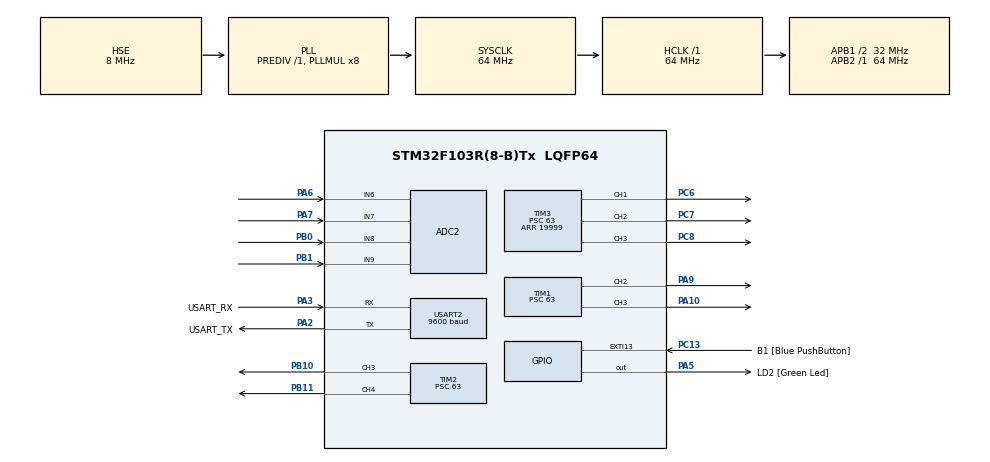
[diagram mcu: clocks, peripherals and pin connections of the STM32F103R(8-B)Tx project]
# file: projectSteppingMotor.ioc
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ADC2.Channel-1\#ChannelRegularConversion=ADC_CHANNEL_6
ADC2.Channel-2\#ChannelRegularConversion=ADC_CHANNEL_7
ADC2.Channel-3\#ChannelRegularConversion=ADC_CHANNEL_8
ADC2.Channel-4\#ChannelRegularConversion=ADC_CHANNEL_9
ADC2.DiscontinuousConvMode=ENABLE
ADC2.NbrOfConversion=4
ADC2.NbrOfConversionFlag=1
ADC2.Rank-1\#ChannelRegularConversion=1
ADC2.Rank-2\#ChannelRegularConversion=2
ADC2.Rank-3\#ChannelRegularConversion=3
ADC2.Rank-4\#ChannelRegularConversion=4
ADC2.SamplingTime-1\#ChannelRegularConversion=ADC_SAMPLETIME_1CYCLE_5
ADC2.SamplingTime-2\#ChannelRegularConversion=ADC_SAMPLETIME_1CYCLE_5
ADC2.SamplingTime-3\#ChannelRegularConversion=ADC_SAMPLETIME_1CYCLE_5
ADC2.SamplingTime-4\#ChannelRegularConversion=ADC_SAMPLETIME_1CYCLE_5
Mcu.Family=STM32F1
Mcu.Name=STM32F103R(8-B)Tx
Mcu.Package=LQFP64
NVIC.EXTI15_10_IRQn=true\:0\:0\:false\:false\:true\:true\:true\:true
NVIC.PriorityGroup=NVIC_PRIORITYGROUP_4
PA10.Signal=S_TIM1_CH3
PA13.GPIO_Label=TMS
PA13.Mode=Serial_Wire
PA13.Signal=SYS_JTMS-SWDIO
PA14.GPIO_Label=TCK
PA14.Mode=Serial_Wire
PA14.Signal=SYS_JTCK-SWCLK
PA2.GPIO_Label=USART_TX
PA2.GPIO_Mode=GPIO_MODE_AF_PP
PA2.GPIO_PuPd=GPIO_NOPULL
PA2.GPIO_Speed=GPIO_SPEED_FREQ_LOW
PA2.Mode=Asynchronous
PA2.Signal=USART2_TX
PA3.GPIO_Label=USART_RX
PA3.GPIO_Mode=GPIO_MODE_AF_PP
PA3.GPIO_PuPd=GPIO_NOPULL
PA3.GPIO_Speed=GPIO_SPEED_FREQ_LOW
PA3.Mode=Asynchronous
PA3.Signal=USART2_RX
PA5.GPIO_Label=LD2 [Green Led]
PA5.GPIO_ModeDefaultOutputPP=GPIO_MODE_OUTPUT_PP
PA5.GPIO_PuPd=GPIO_NOPULL
PA5.GPIO_Speed=GPIO_SPEED_FREQ_LOW
PA5.Signal=GPIO_Output
PA6.Signal=ADCx_IN6
PA7.Signal=ADCx_IN7
PA9.Signal=S_TIM1_CH2
PB0.Signal=ADCx_IN8
PB1.Signal=ADCx_IN9
PB10.Signal=S_TIM2_CH3
PB11.Signal=S_TIM2_CH4
PB3.GPIO_Label=SWO
PB3.Signal=SYS_JTDO-TRACESWO
PC13-TAMPER-RTC.GPIO_Label=B1 [Blue PushButton]
PC13-TAMPER-RTC.GPIO_PuPd=GPIO_NOPULL
PC13-TAMPER-RTC.Signal=GPXTI13
PC14-OSC32_IN.Mode=LSE-External-Oscillator
PC14-OSC32_IN.Signal=RCC_OSC32_IN
PC15-OSC32_OUT.Mode=LSE-External-Oscillator
PC15-OSC32_OUT.Signal=RCC_OSC32_OUT
PC6.Signal=S_TIM3_CH1
PC7.Signal=S_TIM3_CH2
PC8.Signal=S_TIM3_CH3
PD0-OSC_IN.Mode=HSE-External-Clock-Source
PD0-OSC_IN.Signal=RCC_OSC_IN
PD1-OSC_OUT.Mode=HSE-External-Clock-Source
PD1-OSC_OUT.Signal=RCC_OSC_OUT
ProjectManager.HeapSize=0x200
ProjectManager.StackSize=0x400
ProjectManager.TargetToolchain=STM32CubeIDE
RCC.ADCPresc=RCC_ADCPCLK2_DIV8
RCC.AHBFreq_Value=64000000
RCC.APB1CLKDivider=RCC_HCLK_DIV2
RCC.APB1Freq_Value=32000000
RCC.APB1TimFreq_Value=64000000
RCC.APB2Freq_Value=64000000
RCC.APB2TimFreq_Value=64000000
RCC.HCLKFreq_Value=64000000
RCC.PLLMUL=RCC_PLL_MUL8
RCC.PLLSourceVirtual=RCC_PLLSOURCE_HSE
RCC.RTCClockSelection=RCC_RTCCLKSOURCE_LSE
RCC.SYSCLKFreq_VALUE=64000000
RCC.SYSCLKSource=RCC_SYSCLKSOURCE_PLLCLK
RCC.USBFreq_Value=64000000
SH.ADCx_IN6.0=ADC2_IN6,IN6
SH.ADCx_IN7.0=ADC2_IN7,IN7
SH.ADCx_IN8.0=ADC2_IN8,IN8
SH.ADCx_IN9.0=ADC2_IN9,IN9
SH.S_TIM1_CH2.0=TIM1_CH2,PWM Generation2 CH2
SH.S_TIM1_CH3.0=TIM1_CH3,PWM Generation3 CH3
SH.S_TIM2_CH3.0=TIM2_CH3,PWM Generation3 CH3
SH.S_TIM2_CH4.0=TIM2_CH4,PWM Generation4 CH4
SH.S_TIM3_CH1.0=TIM3_CH1,PWM Generation1 CH1
SH.S_TIM3_CH2.0=TIM3_CH2,PWM Generation2 CH2
SH.S_TIM3_CH3.0=TIM3_CH3,PWM Generation3 CH3
TIM1.Channel-Output\ Compare1\ No\ Output=TIM_CHANNEL_1
TIM1.Channel-PWM\ Generation2\ CH2=TIM_CHANNEL_2
TIM1.Channel-PWM\ Generation3\ CH3=TIM_CHANNEL_3
TIM1.OCPolarity_3=TIM_OCPOLARITY_LOW
TIM1.Period=9999
TIM1.Prescaler=63
TIM1.Pulse-Output\ Compare1\ No\ Output=2500
TIM1.TIM_MasterOutputTrigger=TIM_TRGO_OC1
TIM1.TIM_MasterSlaveMode=TIM_MASTERSLAVEMODE_ENABLE
TIM2.Channel-PWM\ Generation3\ CH3=TIM_CHANNEL_3
TIM2.Channel-PWM\ Generation4\ CH4=TIM_CHANNEL_4
TIM2.OCPolarity_4=TIM_OCPOLARITY_LOW
TIM2.Period=9999
TIM2.Prescaler=63
TIM2.Pulse-PWM\ Generation3\ CH3=5000
TIM2.Pulse-PWM\ Generation4\ CH4=5000
TIM3.Channel-PWM\ Generation1\ CH1=TIM_CHANNEL_1
TIM3.Channel-PWM\ Generation2\ CH2=TIM_CHANNEL_2
TIM3.Channel-PWM\ Generation3\ CH3=TIM_CHANNEL_3
TIM3.Period=19999
TIM3.Prescaler=63
USART2.BaudRate=9600
USART2.VirtualMode=VM_ASYNC
VP_TIM1_VS_ClockSourceINT.Mode=Internal
VP_TIM1_VS_no_output1.Mode=Output Compare1 No Output
VP_TIM2_VS_ClockSourceINT.Mode=Internal
VP_TIM2_VS_ClockSourceITR.Mode=TriggerSource_ITR0
VP_TIM2_VS_ControllerModeReset.Mode=Reset Mode
VP_TIM3_VS_ClockSourceINT.Mode=Internal
board=NUCLEO-F103RB

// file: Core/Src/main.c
/* USER CODE BEGIN Header */
/**
  ******************************************************************************
  * @file           : main.c
  * @brief          : Main program body
  ******************************************************************************
  * @attention
  *
  * Copyright (c) 2022 STMicroelectronics.
  * All rights reserved.
  *
  * This software is licensed under terms that can be found in the LICENSE file
  * in the root directory of this software component.
  * If no LICENSE file comes with this software, it is provided AS-IS.
  *
  ******************************************************************************
  */
/* USER CODE END Header */
#include "main.h"

/* USER CODE BEGIN Includes */
#include "stdio.h"
/* USER CODE END Includes */

 ADC_HandleTypeDef hadc2;

TIM_HandleTypeDef htim1;
TIM_HandleTypeDef htim2;
TIM_HandleTypeDef htim3;

UART_HandleTypeDef huart2;

/* USER CODE BEGIN PV */
int joystick1_X;
int joystick1_Y;
int joystick2_X;
int joystick2_Y;
int delay_time = 0;
int survo1Idx=0;
int survo2Idx=0;
int survo3Idx=0;
ADC_ChannelConfTypeDef Adc_sConfig;
/* USER CODE END PV */

void SystemClock_Config(void);
static void MX_GPIO_Init(void);
static void MX_USART2_UART_Init(void);
static void MX_ADC2_Init(void);
static void MX_TIM1_Init(void);
static void MX_TIM2_Init(void);
static void MX_TIM3_Init(void);

/* USER CODE BEGIN 0 */
#ifdef __GNUC__
/* With GCC, small printf (option LD Linker->Libraries->Small printf
   set to 'Yes') calls __io_putchar() */
#define PUTCHAR_PROTOTYPE int __io_putchar(int ch)
#else
#define PUTCHAR_PROTOTYPE int fputc(int ch, FILE *f)
#endif /* __GNUC__ */

PUTCHAR_PROTOTYPE
{
  /* Place your implementation of fputc here */
  /* e.g. write a character to the USART1 and Loop until the end of transmission */
  HAL_UART_Transmit(&huart2, (uint8_t *)&ch, 1, 0xFFFF);

  return ch;
}
/* USER CODE END 0 */

int main(void)
{

  /* MCU Configuration--------------------------------------------------------*/

  /* Reset of all peripherals, Initializes the Flash interface and the Systick. */
  HAL_Init();

  /* Configure the system clock */
  SystemClock_Config();

  /* Initialize all configured peripherals */
  MX_GPIO_Init();
  MX_USART2_UART_Init();
  MX_ADC2_Init();
  MX_TIM1_Init();
  MX_TIM2_Init();
  MX_TIM3_Init();
  /* USER CODE BEGIN 2 */
	HAL_TIM_PWM_Start(&htim1, TIM_CHANNEL_2);
	HAL_TIM_PWM_Start(&htim1, TIM_CHANNEL_3);
	HAL_TIM_PWM_Start(&htim2, TIM_CHANNEL_3);
	HAL_TIM_PWM_Start(&htim2, TIM_CHANNEL_4);
	HAL_TIM_PWM_Start(&htim3, TIM_CHANNEL_1);
	HAL_TIM_PWM_Start(&htim3, TIM_CHANNEL_2);
	HAL_TIM_PWM_Start(&htim3, TIM_CHANNEL_3);
  /* USER CODE END 2 */

  /* Infinite loop */
  while (1)
  {

    /* USER CODE BEGIN 3 */
	  HAL_ADC_Start(&hadc2);
	  HAL_ADC_PollForConversion(&hadc2, HAL_MAX_DELAY);
	  joystick1_X = HAL_ADC_GetValue(&hadc2);

	  HAL_ADC_Start(&hadc2);
	  HAL_ADC_PollForConversion(&hadc2, HAL_MAX_DELAY);
	  joystick1_Y = HAL_ADC_GetValue(&hadc2);

	  HAL_ADC_Start(&hadc2);
	  HAL_ADC_PollForConversion(&hadc2, HAL_MAX_DELAY);
	  joystick2_X = HAL_ADC_GetValue(&hadc2);

	  HAL_ADC_Start(&hadc2);
	  HAL_ADC_PollForConversion(&hadc2, HAL_MAX_DELAY);
	  joystick2_Y = HAL_ADC_GetValue(&hadc2);

	  if(joystick1_X<1800)	joystick1_X = 0; // ( -x )
	  else if(joystick1_X >=1800&&joystick1_X<2900)	joystick1_X = 1;// 0
	  else if(joystick1_X>=2900)	joystick1_X = 2; //( +x )

	  if(joystick1_X == 0)
	  {
		  TIM1->CCER = 784; // counterclockwise
		  TIM1->CCR2 = 5000;
		  TIM1->CCR3 = 5000;
		  TIM2->CCR3 = 5000;
		  TIM2->CCR4 = 5000;
	  }
	  else if(joystick1_X == 1)
	  {
		  TIM1->CCER = 0;
		  TIM1->CCR2 = 0;
		  TIM1->CCR3 = 0;
		  TIM2->CCR3 = 0;
		  TIM2->CCR4 = 0;
	  }
	  else if(joystick1_X == 2)
	  {
		  TIM1->CCER = 306; // clockwise
		  TIM1->CCR2 = 5000;
		  TIM1->CCR3 = 5000;
		  TIM2->CCR3 = 5000;
		  TIM2->CCR4 = 5000;
	  }

	  if(joystick1_Y<600) joystick1_Y=1;
	  else if(joystick1_Y>3000) joystick1_Y = 2;
	  else joystick1_Y = 0;

	  if(joystick2_X<600) joystick2_X=1;
	  else if(joystick2_X>3000) joystick2_X = 2;
	  else joystick2_X = 0;

	  if(joystick2_Y<600) joystick2_Y=1;
	  else if(joystick2_Y>3000) joystick2_Y = 2;
	  else joystick2_Y = 0;

	  if(joystick1_Y==1)
	  {

		  TIM3->CCR1 = 999+survo1Idx*20;
		  survo1Idx--;
		  if (survo1Idx<0) survo1Idx = 0;
	  }
	  else if(joystick1_Y == 2)
	  {
		  TIM3->CCR1 = 999+survo1Idx*20;
		  survo1Idx++;
		  if(survo1Idx>200) survo1Idx = 200;
	  }
	  if(joystick2_X==1)
	  {

		  TIM3->CCR2 = 999+survo2Idx*20;
		  survo2Idx--;
		  if (survo2Idx<0) survo2Idx = 0;
	  }
	  else if(joystick2_X == 2)
	  {
		  TIM3->CCR2 = 999+survo2Idx*20;
		  survo2Idx++;
		  if(survo2Idx>200) survo2Idx = 200;
	  }
	  if(joystick2_Y==1)
	  {

		  TIM3->CCR3 = 999+survo3Idx*20;
		  survo3Idx--;
		  if (survo3Idx<0) survo3Idx = 0;
	  }
	  else if(joystick2_Y == 2)
	  {
		  TIM3->CCR3 = 999+survo3Idx*20;
		  survo3Idx++;
		  if(survo3Idx>200) survo3Idx = 200;
	  }
	  printf("joystick1_X:%d joystick1_Y: %d joystick2_X:%d joystick2_Y: %d\n\r",joystick1_X,joystick1_Y,joystick2_X,joystick2_Y);
	  printf("survo1Idx:%d survo2Idx:%u survo3Idx:%u  \n\r",survo1Idx,TIM3->CCR2,TIM3->CCR3);

	  HAL_Delay(20);
  }
  /* USER CODE END 3 */
}

void SystemClock_Config(void)
{
  RCC_OscInitTypeDef RCC_OscInitStruct = {0};
  RCC_ClkInitTypeDef RCC_ClkInitStruct = {0};
  RCC_PeriphCLKInitTypeDef PeriphClkInit = {0};

  /** Initializes the RCC Oscillators according to the specified parameters
  * in the RCC_OscInitTypeDef structure.
  */
  RCC_OscInitStruct.OscillatorType = RCC_OSCILLATORTYPE_HSE;
  RCC_OscInitStruct.HSEState = RCC_HSE_BYPASS;
  RCC_OscInitStruct.HSEPredivValue = RCC_HSE_PREDIV_DIV1;
  RCC_OscInitStruct.HSIState = RCC_HSI_ON;
  RCC_OscInitStruct.PLL.PLLState = RCC_PLL_ON;
  RCC_OscInitStruct.PLL.PLLSource = RCC_PLLSOURCE_HSE;
  RCC_OscInitStruct.PLL.PLLMUL = RCC_PLL_MUL8;
  if (HAL_RCC_OscConfig(&RCC_OscInitStruct) != HAL_OK)
  {
    Error_Handler();
  }

  /** Initializes the CPU, AHB and APB buses clocks
  */
  RCC_ClkInitStruct.ClockType = RCC_CLOCKTYPE_HCLK|RCC_CLOCKTYPE_SYSCLK
                              |RCC_CLOCKTYPE_PCLK1|RCC_CLOCKTYPE_PCLK2;
  RCC_ClkInitStruct.SYSCLKSource = RCC_SYSCLKSOURCE_PLLCLK;
  RCC_ClkInitStruct.AHBCLKDivider = RCC_SYSCLK_DIV1;
  RCC_ClkInitStruct.APB1CLKDivider = RCC_HCLK_DIV2;
  RCC_ClkInitStruct.APB2CLKDivider = RCC_HCLK_DIV1;

  if (HAL_RCC_ClockConfig(&RCC_ClkInitStruct, FLASH_LATENCY_2) != HAL_OK)
  {
    Error_Handler();
  }
  PeriphClkInit.PeriphClockSelection = RCC_PERIPHCLK_ADC;
  PeriphClkInit.AdcClockSelection = RCC_ADCPCLK2_DIV8;
  if (HAL_RCCEx_PeriphCLKConfig(&PeriphClkInit) != HAL_OK)
  {
    Error_Handler();
  }
}

static void MX_ADC2_Init(void)
{

  ADC_ChannelConfTypeDef sConfig = {0};

  /** Common config
  */
  hadc2.Instance = ADC2;
  hadc2.Init.ScanConvMode = ADC_SCAN_ENABLE;
  hadc2.Init.ContinuousConvMode = DISABLE;
  hadc2.Init.DiscontinuousConvMode = ENABLE;
  hadc2.Init.NbrOfDiscConversion = 1;
  hadc2.Init.ExternalTrigConv = ADC_SOFTWARE_START;
  hadc2.Init.DataAlign = ADC_DATAALIGN_RIGHT;
  hadc2.Init.NbrOfConversion = 4;
  if (HAL_ADC_Init(&hadc2) != HAL_OK)
  {
    Error_Handler();
  }

  /** Configure Regular Channel
  */
  sConfig.Channel = ADC_CHANNEL_6;
  sConfig.Rank = ADC_REGULAR_RANK_1;
  sConfig.SamplingTime = ADC_SAMPLETIME_1CYCLE_5;
  if (HAL_ADC_ConfigChannel(&hadc2, &sConfig) != HAL_OK)
  {
    Error_Handler();
  }

  /** Configure Regular Channel
  */
  sConfig.Channel = ADC_CHANNEL_7;
  sConfig.Rank = ADC_REGULAR_RANK_2;
  if (HAL_ADC_ConfigChannel(&hadc2, &sConfig) != HAL_OK)
  {
    Error_Handler();
  }

  /** Configure Regular Channel
  */
  sConfig.Channel = ADC_CHANNEL_8;
  sConfig.Rank = ADC_REGULAR_RANK_3;
  if (HAL_ADC_ConfigChannel(&hadc2, &sConfig) != HAL_OK)
  {
    Error_Handler();
  }

  /** Configure Regular Channel
  */
  sConfig.Channel = ADC_CHANNEL_9;
  sConfig.Rank = ADC_REGULAR_RANK_4;
  if (HAL_ADC_ConfigChannel(&hadc2, &sConfig) != HAL_OK)
  {
    Error_Handler();
  }

}

static void MX_TIM1_Init(void)
{

  TIM_ClockConfigTypeDef sClockSourceConfig = {0};
  TIM_MasterConfigTypeDef sMasterConfig = {0};
  TIM_OC_InitTypeDef sConfigOC = {0};
  TIM_BreakDeadTimeConfigTypeDef sBreakDeadTimeConfig = {0};

  htim1.Instance = TIM1;
  htim1.Init.Prescaler = 63;
  htim1.Init.CounterMode = TIM_COUNTERMODE_UP;
  htim1.Init.Period = 9999;
  htim1.Init.ClockDivision = TIM_CLOCKDIVISION_DIV1;
  htim1.Init.RepetitionCounter = 0;
  htim1.Init.AutoReloadPreload = TIM_AUTORELOAD_PRELOAD_DISABLE;
  if (HAL_TIM_Base_Init(&htim1) != HAL_OK)
  {
    Error_Handler();
  }
  sClockSourceConfig.ClockSource = TIM_CLOCKSOURCE_INTERNAL;
  if (HAL_TIM_ConfigClockSource(&htim1, &sClockSourceConfig) != HAL_OK)
  {
    Error_Handler();
  }
  if (HAL_TIM_OC_Init(&htim1) != HAL_OK)
  {
    Error_Handler();
  }
  if (HAL_TIM_PWM_Init(&htim1) != HAL_OK)
  {
    Error_Handler();
  }
  sMasterConfig.MasterOutputTrigger = TIM_TRGO_OC1;
  sMasterConfig.MasterSlaveMode = TIM_MASTERSLAVEMODE_ENABLE;
  if (HAL_TIMEx_MasterConfigSynchronization(&htim1, &sMasterConfig) != HAL_OK)
  {
    Error_Handler();
  }
  sConfigOC.OCMode = TIM_OCMODE_TIMING;
  sConfigOC.Pulse = 2500;
  sConfigOC.OCPolarity = TIM_OCPOLARITY_HIGH;
  sConfigOC.OCNPolarity = TIM_OCNPOLARITY_HIGH;
  sConfigOC.OCFastMode = TIM_OCFAST_DISABLE;
  sConfigOC.OCIdleState = TIM_OCIDLESTATE_RESET;
  sConfigOC.OCNIdleState = TIM_OCNIDLESTATE_RESET;
  if (HAL_TIM_OC_ConfigChannel(&htim1, &sConfigOC, TIM_CHANNEL_1) != HAL_OK)
  {
    Error_Handler();
  }
  sConfigOC.OCMode = TIM_OCMODE_PWM1;
  sConfigOC.Pulse = 0;
  if (HAL_TIM_PWM_ConfigChannel(&htim1, &sConfigOC, TIM_CHANNEL_2) != HAL_OK)
  {
    Error_Handler();
  }
  sConfigOC.OCPolarity = TIM_OCPOLARITY_LOW;
  if (HAL_TIM_PWM_ConfigChannel(&htim1, &sConfigOC, TIM_CHANNEL_3) != HAL_OK)
  {
    Error_Handler();
  }
  sBreakDeadTimeConfig.OffStateRunMode = TIM_OSSR_DISABLE;
  sBreakDeadTimeConfig.OffStateIDLEMode = TIM_OSSI_DISABLE;
  sBreakDeadTimeConfig.LockLevel = TIM_LOCKLEVEL_OFF;
  sBreakDeadTimeConfig.DeadTime = 0;
  sBreakDeadTimeConfig.BreakState = TIM_BREAK_DISABLE;
  sBreakDeadTimeConfig.BreakPolarity = TIM_BREAKPOLARITY_HIGH;
  sBreakDeadTimeConfig.AutomaticOutput = TIM_AUTOMATICOUTPUT_DISABLE;
  if (HAL_TIMEx_ConfigBreakDeadTime(&htim1, &sBreakDeadTimeConfig) != HAL_OK)
  {
    Error_Handler();
  }
  HAL_TIM_MspPostInit(&htim1);

}

static void MX_TIM2_Init(void)
{

  TIM_ClockConfigTypeDef sClockSourceConfig = {0};
  TIM_SlaveConfigTypeDef sSlaveConfig = {0};
  TIM_MasterConfigTypeDef sMasterConfig = {0};
  TIM_OC_InitTypeDef sConfigOC = {0};

  htim2.Instance = TIM2;
  htim2.Init.Prescaler = 63;
  htim2.Init.CounterMode = TIM_COUNTERMODE_UP;
  htim2.Init.Period = 9999;
  htim2.Init.ClockDivision = TIM_CLOCKDIVISION_DIV1;
  htim2.Init.AutoReloadPreload = TIM_AUTORELOAD_PRELOAD_DISABLE;
  if (HAL_TIM_Base_Init(&htim2) != HAL_OK)
  {
    Error_Handler();
  }
  sClockSourceConfig.ClockSource = TIM_CLOCKSOURCE_INTERNAL;
  if (HAL_TIM_ConfigClockSource(&htim2, &sClockSourceConfig) != HAL_OK)
  {
    Error_Handler();
  }
  if (HAL_TIM_PWM_Init(&htim2) != HAL_OK)
  {
    Error_Handler();
  }
  sSlaveConfig.SlaveMode = TIM_SLAVEMODE_RESET;
  sSlaveConfig.InputTrigger = TIM_TS_ITR0;
  if (HAL_TIM_SlaveConfigSynchro(&htim2, &sSlaveConfig) != HAL_OK)
  {
    Error_Handler();
  }
  sMasterConfig.MasterOutputTrigger = TIM_TRGO_RESET;
  sMasterConfig.MasterSlaveMode = TIM_MASTERSLAVEMODE_DISABLE;
  if (HAL_TIMEx_MasterConfigSynchronization(&htim2, &sMasterConfig) != HAL_OK)
  {
    Error_Handler();
  }
  sConfigOC.OCMode = TIM_OCMODE_PWM1;
  sConfigOC.Pulse = 5000;
  sConfigOC.OCPolarity = TIM_OCPOLARITY_HIGH;
  sConfigOC.OCFastMode = TIM_OCFAST_DISABLE;
  if (HAL_TIM_PWM_ConfigChannel(&htim2, &sConfigOC, TIM_CHANNEL_3) != HAL_OK)
  {
    Error_Handler();
  }
  sConfigOC.OCPolarity = TIM_OCPOLARITY_LOW;
  if (HAL_TIM_PWM_ConfigChannel(&htim2, &sConfigOC, TIM_CHANNEL_4) != HAL_OK)
  {
    Error_Handler();
  }
  HAL_TIM_MspPostInit(&htim2);

}

static void MX_TIM3_Init(void)
{

  TIM_ClockConfigTypeDef sClockSourceConfig = {0};
  TIM_MasterConfigTypeDef sMasterConfig = {0};
  TIM_OC_InitTypeDef sConfigOC = {0};

  htim3.Instance = TIM3;
  htim3.Init.Prescaler = 63;
  htim3.Init.CounterMode = TIM_COUNTERMODE_UP;
  htim3.Init.Period = 19999;
  htim3.Init.ClockDivision = TIM_CLOCKDIVISION_DIV1;
  htim3.Init.AutoReloadPreload = TIM_AUTORELOAD_PRELOAD_DISABLE;
  if (HAL_TIM_Base_Init(&htim3) != HAL_OK)
  {
    Error_Handler();
  }
  sClockSourceConfig.ClockSource = TIM_CLOCKSOURCE_INTERNAL;
  if (HAL_TIM_ConfigClockSource(&htim3, &sClockSourceConfig) != HAL_OK)
  {
    Error_Handler();
  }
  if (HAL_TIM_PWM_Init(&htim3) != HAL_OK)
  {
    Error_Handler();
  }
  sMasterConfig.MasterOutputTrigger = TIM_TRGO_RESET;
  sMasterConfig.MasterSlaveMode = TIM_MASTERSLAVEMODE_DISABLE;
  if (HAL_TIMEx_MasterConfigSynchronization(&htim3, &sMasterConfig) != HAL_OK)
  {
    Error_Handler();
  }
  sConfigOC.OCMode = TIM_OCMODE_PWM1;
  sConfigOC.Pulse = 0;
  sConfigOC.OCPolarity = TIM_OCPOLARITY_HIGH;
  sConfigOC.OCFastMode = TIM_OCFAST_DISABLE;
  if (HAL_TIM_PWM_ConfigChannel(&htim3, &sConfigOC, TIM_CHANNEL_1) != HAL_OK)
  {
    Error_Handler();
  }
  if (HAL_TIM_PWM_ConfigChannel(&htim3, &sConfigOC, TIM_CHANNEL_2) != HAL_OK)
  {
    Error_Handler();
  }
  if (HAL_TIM_PWM_ConfigChannel(&htim3, &sConfigOC, TIM_CHANNEL_3) != HAL_OK)
  {
    Error_Handler();
  }
  HAL_TIM_MspPostInit(&htim3);

}

static void MX_USART2_UART_Init(void)
{

  huart2.Instance = USART2;
  huart2.Init.BaudRate = 9600;
  huart2.Init.WordLength = UART_WORDLENGTH_8B;
  huart2.Init.StopBits = UART_STOPBITS_1;
  huart2.Init.Parity = UART_PARITY_NONE;
  huart2.Init.Mode = UART_MODE_TX_RX;
  huart2.Init.HwFlowCtl = UART_HWCONTROL_NONE;
  huart2.Init.OverSampling = UART_OVERSAMPLING_16;
  if (HAL_UART_Init(&huart2) != HAL_OK)
  {
    Error_Handler();
  }

}

static void MX_GPIO_Init(void)
{
  GPIO_InitTypeDef GPIO_InitStruct = {0};

  /* GPIO Ports Clock Enable */
  __HAL_RCC_GPIOC_CLK_ENABLE();
  __HAL_RCC_GPIOD_CLK_ENABLE();
  __HAL_RCC_GPIOA_CLK_ENABLE();
  __HAL_RCC_GPIOB_CLK_ENABLE();

  /*Configure GPIO pin Output Level */
  HAL_GPIO_WritePin(LD2_GPIO_Port, LD2_Pin, GPIO_PIN_RESET);

  /*Configure GPIO pin : B1_Pin */
  GPIO_InitStruct.Pin = B1_Pin;
  GPIO_InitStruct.Mode = GPIO_MODE_IT_RISING;
  GPIO_InitStruct.Pull = GPIO_NOPULL;
  HAL_GPIO_Init(B1_GPIO_Port, &GPIO_InitStruct);

  /*Configure GPIO pin : LD2_Pin */
  GPIO_InitStruct.Pin = LD2_Pin;
  GPIO_InitStruct.Mode = GPIO_MODE_OUTPUT_PP;
  GPIO_InitStruct.Pull = GPIO_NOPULL;
  GPIO_InitStruct.Speed = GPIO_SPEED_FREQ_LOW;
  HAL_GPIO_Init(LD2_GPIO_Port, &GPIO_InitStruct);

  /* EXTI interrupt init*/
  HAL_NVIC_SetPriority(EXTI15_10_IRQn, 0, 0);
  HAL_NVIC_EnableIRQ(EXTI15_10_IRQn);

}

void Error_Handler(void)
{
  __disable_irq();
  while (1)
  {
  }
}
